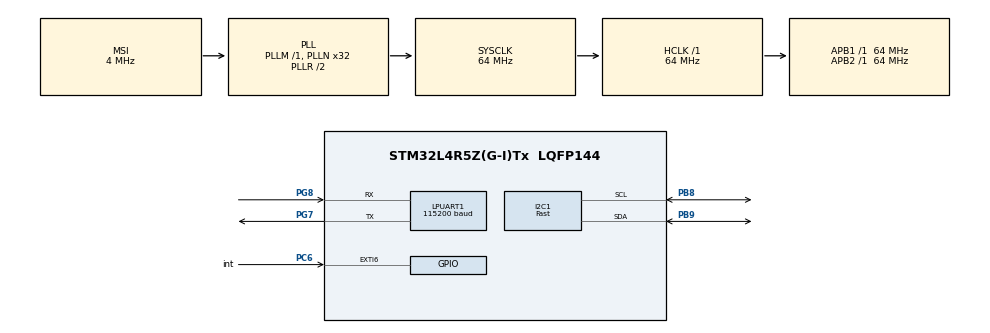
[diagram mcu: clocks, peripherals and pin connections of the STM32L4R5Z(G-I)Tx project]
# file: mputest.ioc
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Mcu.Family=STM32L4
RCC.MSI_VALUE=4000000
PG8.Mode=Asynchronous
RCC.CortexFreq_Value=64000000
PG7.Signal=LPUART1_TX
PA13\ (JTMS/SWDIO).Mode=Serial_Wire
I2C1.I2C_Speed_Mode=I2C_Fast
PG8.Signal=LPUART1_RX
PC6.Signal=GPXTI6
PC6.GPIO_Label=int
LPUART1.WordLength=UART_WORDLENGTH_8B
RCC.SYSCLKSource=RCC_SYSCLKSOURCE_PLLCLK
ProjectManager.StackSize=0x400
PA14\ (JTCK/SWCLK).Signal=SYS_JTCK-SWCLK
ProjectManager.TargetToolchain=STM32CubeIDE
RCC.HCLKFreq_Value=64000000
PB9.Mode=I2C
RCC.APB2TimFreq_Value=64000000
I2C1.Timing=0x00602173
PG7.Mode=Asynchronous
RCC.LSE_VALUE=32768
RCC.AHBFreq_Value=64000000
RCC.HSE_VALUE=8000000
board=custom
RCC.VCOOutputFreq_Value=128000000
RCC.APB2Freq_Value=64000000
PA14\ (JTCK/SWCLK).Mode=Serial_Wire
Mcu.Name=STM32L4R5Z(G-I)Tx
LPUART1.BaudRate=115200
RCC.SYSCLKFreq_VALUE=64000000
Mcu.Package=LQFP144
PB9.Signal=I2C1_SDA
NVIC.EXTI9_5_IRQn=true\:0\:0\:false\:false\:true\:true\:true
ProjectManager.HeapSize=0x200
RCC.HSI_VALUE=16000000
NVIC.PriorityGroup=NVIC_PRIORITYGROUP_4
PB8.Mode=I2C
RCC.PLLN=32
RCC.APB1TimFreq_Value=64000000
PB8.Signal=I2C1_SCL
RCC.APB1Freq_Value=64000000
RCC.HSI48_VALUE=48000000
PA13\ (JTMS/SWDIO).Signal=SYS_JTMS-SWDIO

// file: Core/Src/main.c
/* USER CODE BEGIN Header */
/**
 ******************************************************************************
 * @file           : main.c
 * @brief          : Main program body
 ******************************************************************************
 * @attention
 *
 * <h2><center>&copy; Copyright (c) 2021 STMicroelectronics.
 * All rights reserved.</center></h2>
 *
 * This software component is licensed by ST under BSD 3-Clause license,
 * the "License"; You may not use this file except in compliance with the
 * License. You may obtain a copy of the License at:
 *                        opensource.org/licenses/BSD-3-Clause
 *
 ******************************************************************************
 */
/* USER CODE END Header */
#include "main.h"

/* USER CODE BEGIN Includes */
#include "inv_mpu_dmp_motion_driver.h"
#include "inv_mpu.h"
#include <stdio.h>
#include <string.h>
/* USER CODE END Includes */

/* USER CODE BEGIN PTD */
#define MPU6050
/* USER CODE END PTD */

I2C_HandleTypeDef hi2c1;

UART_HandleTypeDef hlpuart1;

void SystemClock_Config(void);
static void MX_GPIO_Init(void);
static void MX_I2C1_Init(void);
static void MX_LPUART1_UART_Init(void);

/* USER CODE BEGIN 0 */
#define PRINT_ACCEL     (0x01)
#define PRINT_GYRO      (0x02)
#define PRINT_QUAT      (0x04)

#define ACCEL_ON        (0x01)
#define GYRO_ON         (0x02)

#define MOTION          (0)
#define NO_MOTION       (1)

/* Starting sampling rate. */
#define DEFAULT_MPU_HZ  (100)

#define FLASH_MEM_START ((void*)0x1800)

struct rx_s {
	unsigned char header[3];
	unsigned char cmd;
};
struct hal_s {
	unsigned char sensors;
	unsigned char dmp_on;
	unsigned char wait_for_tap;
	volatile unsigned char new_gyro;
	unsigned short report;
	unsigned short dmp_features;
	unsigned char motion_int_mode;
	struct rx_s rx;
};
struct hal_s hal = {0};

static signed char gyro_orientation[9] = {-1, 0, 0,
		0,-1, 0,
		0, 0, 1};
volatile unsigned char rx_new;

enum packet_type_e {
	PACKET_TYPE_ACCEL,
	PACKET_TYPE_GYRO,
	PACKET_TYPE_QUAT,
	PACKET_TYPE_TAP,
	PACKET_TYPE_ANDROID_ORIENT,
	PACKET_TYPE_PEDO,
	PACKET_TYPE_MISC
};

void send_packet(char packet_type, void *data)
{
	#define MAX_BUF_LENGTH  (18)
	char buf[MAX_BUF_LENGTH], length;

	memset(buf, 0, MAX_BUF_LENGTH);
	buf[0] = '$';
	buf[1] = packet_type;

	if (packet_type == PACKET_TYPE_ACCEL || packet_type == PACKET_TYPE_GYRO) {
		short *sdata = (short*)data;
		buf[2] = (char)(sdata[0] >> 8);
		buf[3] = (char)sdata[0];
		buf[4] = (char)(sdata[1] >> 8);
		buf[5] = (char)sdata[1];
		buf[6] = (char)(sdata[2] >> 8);
		buf[7] = (char)sdata[2];
		length = 8;
	} else if (packet_type == PACKET_TYPE_QUAT) {
		long *ldata = (long*)data;
		buf[2] = (char)(ldata[0] >> 24);
		buf[3] = (char)(ldata[0] >> 16);
		buf[4] = (char)(ldata[0] >> 8);
		buf[5] = (char)ldata[0];
		buf[6] = (char)(ldata[1] >> 24);
		buf[7] = (char)(ldata[1] >> 16);
		buf[8] = (char)(ldata[1] >> 8);
		buf[9] = (char)ldata[1];
		buf[10] = (char)(ldata[2] >> 24);
		buf[11] = (char)(ldata[2] >> 16);
		buf[12] = (char)(ldata[2] >> 8);
		buf[13] = (char)ldata[2];
		buf[14] = (char)(ldata[3] >> 24);
		buf[15] = (char)(ldata[3] >> 16);
		buf[16] = (char)(ldata[3] >> 8);
		buf[17] = (char)ldata[3];
		length = 18;
	} else if (packet_type == PACKET_TYPE_TAP) {
		buf[2] = ((char*)data)[0];
		buf[3] = ((char*)data)[1];
		length = 4;
	} else if (packet_type == PACKET_TYPE_ANDROID_ORIENT) {
		buf[2] = ((char*)data)[0];
		length = 3;
	} else if (packet_type == PACKET_TYPE_PEDO) {
		long *ldata = (long*)data;
		buf[2] = (char)(ldata[0] >> 24);
		buf[3] = (char)(ldata[0] >> 16);
		buf[4] = (char)(ldata[0] >> 8);
		buf[5] = (char)ldata[0];
		buf[6] = (char)(ldata[1] >> 24);
		buf[7] = (char)(ldata[1] >> 16);
		buf[8] = (char)(ldata[1] >> 8);
		buf[9] = (char)ldata[1];
		length = 10;
	} else if (packet_type == PACKET_TYPE_MISC) {
		buf[2] = ((char*)data)[0];
		buf[3] = ((char*)data)[1];
		buf[4] = ((char*)data)[2];
		buf[5] = ((char*)data)[3];
		length = 6;
	}
	HAL_UART_Transmit(&hlpuart1, (uint8_t *) buf, length, 100);
}
static inline unsigned short inv_row_2_scale(const signed char *row)
{
	unsigned short b;

	if (row[0] > 0)
		b = 0;
	else if (row[0] < 0)
		b = 4;
	else if (row[1] > 0)
		b = 1;
	else if (row[1] < 0)
		b = 5;
	else if (row[2] > 0)
		b = 2;
	else if (row[2] < 0)
		b = 6;
	else
		b = 7;      // error
	return b;
}

static inline unsigned short inv_orientation_matrix_to_scalar(
		const signed char *mtx)
{
	unsigned short scalar;

	/*
       XYZ  010_001_000 Identity Matrix
       XZY  001_010_000
       YXZ  010_000_001
       YZX  000_010_001
       ZXY  001_000_010
       ZYX  000_001_010
	 */

	scalar = inv_row_2_scale(mtx);
	scalar |= inv_row_2_scale(mtx + 3) << 3;
	scalar |= inv_row_2_scale(mtx + 6) << 6;

	return scalar;
}

/* Handle sensor on/off combinations. */
static void setup_gyro(void)
{
	unsigned char mask = 0;
	if (hal.sensors & ACCEL_ON)
		mask |= INV_XYZ_ACCEL;
	if (hal.sensors & GYRO_ON)
		mask |= INV_XYZ_GYRO;
	/* If you need a power transition, this function should be called with a
	 * mask of the sensors still enabled. The driver turns off any sensors
	 * excluded from this mask.
	 */
	mpu_set_sensors(mask);
	if (!hal.dmp_on)
		mpu_configure_fifo(mask);
}

static void tap_cb(unsigned char direction, unsigned char count)
{
	char data[2];
	data[0] = (char)direction;
	data[1] = (char)count;
	send_packet(PACKET_TYPE_TAP, data);
}

static void android_orient_cb(unsigned char orientation)
{
	send_packet(PACKET_TYPE_ANDROID_ORIENT, &orientation);
}

static inline void run_self_test(void)
{
	int result;
	char test_packet[4] = {0};
	long gyro[3], accel[3];
	unsigned char i = 0;

#if defined (MPU6500) || defined (MPU9250)
	result = mpu_run_6500_self_test(gyro, accel, 0);
#elif defined MPU6050 || defined MPU9150
	result = mpu_run_self_test(gyro, accel);
#endif
	if (result == 0x7) {
		/* Test passed. We can trust the gyro data here, so let's push it down
		 * to the DMP.
		 */
		for(i = 0; i<3; i++) {
			gyro[i] = (long)(gyro[i] * 32.8f); //convert to +-1000dps
			accel[i] *= 2048.f; //convert to +-16G
			accel[i] = accel[i] >> 16;
			gyro[i] = (long)(gyro[i] >> 16);
		}

		mpu_set_gyro_bias_reg(gyro);

#if defined (MPU6500) || defined (MPU9250)
		mpu_set_accel_bias_6500_reg(accel);
#elif defined (MPU6050) || defined (MPU9150)
		mpu_set_accel_bias_6050_reg(accel);
#endif

	}

	/* Report results. */
	test_packet[0] = 't';
	test_packet[1] = result;
	send_packet(PACKET_TYPE_MISC, test_packet);
}

/* Every time new gyro data is available, this function is called in an
 * ISR context. In this example, it sets a flag protecting the FIFO read
 * function.
 */
static void gyro_data_ready_cb(void)
{
	hal.new_gyro = 1;
}

/* USER CODE END 0 */

int main(void)
{
  /* USER CODE BEGIN 1 */
	unsigned char accel_fsr;
	unsigned short gyro_rate, gyro_fsr;
	unsigned long timestamp;
	struct int_param_s int_param;
  /* USER CODE END 1 */

  /* MCU Configuration--------------------------------------------------------*/

  /* Reset of all peripherals, Initializes the Flash interface and the Systick. */
  HAL_Init();

  /* Configure the system clock */
  SystemClock_Config();

  /* Initialize all configured peripherals */
  MX_GPIO_Init();
  MX_I2C1_Init();
  MX_LPUART1_UART_Init();
  /* USER CODE BEGIN 2 */
	int_param.cb = gyro_data_ready_cb;
	mpu_init(&int_param);
	setup_gyro();
	mpu_set_bypass(1);
	mpu_set_sensors(INV_XYZ_GYRO | INV_XYZ_ACCEL);

	/* Push both gyro and accel data into the FIFO. */
	mpu_configure_fifo(INV_XYZ_GYRO | INV_XYZ_ACCEL);
	mpu_set_sample_rate(DEFAULT_MPU_HZ);
	/* Read back configuration in case it was set improperly. */
	mpu_get_sample_rate(&gyro_rate);
	mpu_get_gyro_fsr(&gyro_fsr);
	mpu_get_accel_fsr(&accel_fsr);
	/* Initialize HAL state variables. */
	memset(&hal, 0, sizeof(hal));
	hal.sensors = ACCEL_ON | GYRO_ON;
	hal.report = PRINT_QUAT;

	dmp_load_motion_driver_firmware();
	dmp_set_orientation(inv_orientation_matrix_to_scalar(gyro_orientation));
	dmp_register_tap_cb(tap_cb);
	dmp_register_android_orient_cb(android_orient_cb);

	hal.dmp_features = DMP_FEATURE_6X_LP_QUAT | DMP_FEATURE_TAP |
			DMP_FEATURE_ANDROID_ORIENT | DMP_FEATURE_SEND_RAW_ACCEL | DMP_FEATURE_SEND_CAL_GYRO |
			DMP_FEATURE_GYRO_CAL;
	dmp_enable_feature(hal.dmp_features);
	dmp_set_fifo_rate(DEFAULT_MPU_HZ);
	mpu_set_dmp_state(1);
	hal.dmp_on = 1;
  /* USER CODE END 2 */

  /* Infinite loop */
	while (1)
	{

    /* USER CODE BEGIN 3 */
		unsigned long sensor_timestamp;

		//handle_input();
		get_ms(&timestamp);

		if (hal.motion_int_mode) {
			/* Enable motion interrupt. */
			mpu_lp_motion_interrupt(500, 1, 5);
			hal.new_gyro = 0;
			/* Wait for the MPU interrupt. */
			if(!hal.new_gyro)
				continue;
			/* Restore the previous sensor configuration. */
			mpu_lp_motion_interrupt(0, 0, 0);
			hal.motion_int_mode = 0;
		}

		if (hal.new_gyro && hal.dmp_on) {
			short gyro[3], accel[3], sensors;
			unsigned char more;
			long quat[4];
			/* This function gets new data from the FIFO when the DMP is in
			 * use. The FIFO can contain any combination of gyro, accel,
			 * quaternion, and gesture data. The sensors parameter tells the
			 * caller which data fields were actually populated with new data.
			 * For example, if sensors == (INV_XYZ_GYRO | INV_WXYZ_QUAT), then
			 * the FIFO isn't being filled with accel data.
			 * The driver parses the gesture data to determine if a gesture
			 * event has occurred; on an event, the application will be notified
			 * via a callback (assuming that a callback function was properly
			 * registered). The more parameter is non-zero if there are
			 * leftover packets in the FIFO.
			 */
			dmp_read_fifo(gyro, accel, quat, &sensor_timestamp, &sensors,&more);

			if (!more) hal.new_gyro = 0;
			/* Gyro and accel data are written to the FIFO by the DMP in chip
			 * frame and hardware units. This behavior is convenient because it
			 * keeps the gyro and accel outputs of dmp_read_fifo and
			 * mpu_read_fifo consistent.
			 */
			if (sensors & INV_XYZ_GYRO && hal.report & PRINT_GYRO){
				send_packet(PACKET_TYPE_GYRO, gyro);
			}
			if (sensors & INV_XYZ_ACCEL && hal.report & PRINT_ACCEL) send_packet(PACKET_TYPE_ACCEL, accel);
			/* Unlike gyro and accel, quaternions are written to the FIFO in
			 * the body frame, q30. The orientation is set by the scalar passed
			 * to dmp_set_orientation during initialization.
			 */
			if (sensors & INV_WXYZ_QUAT && hal.report & PRINT_QUAT) send_packet(PACKET_TYPE_QUAT, quat);
			//HAL_UART_Transmit(&hlpuart1, (uint8_t *) quat, sizeof(quat), 100);
			send_packet(PACKET_TYPE_ACCEL, accel);
			char *n = "\r\n";
			HAL_UART_Transmit(&hlpuart1, (uint8_t *) n, sizeof(n), 100);
			send_packet(PACKET_TYPE_GYRO, gyro);
			HAL_UART_Transmit(&hlpuart1, (uint8_t *) n, sizeof(n), 100);
			 send_packet(PACKET_TYPE_QUAT, quat);

		} else if (hal.new_gyro) {
			short gyro[3], accel[3];
			unsigned char sensors, more;
			/* This function gets new data from the FIFO. The FIFO can contain
			 * gyro, accel, both, or neither. The sensors parameter tells the
			 * caller which data fields were actually populated with new data.
			 * For example, if sensors == INV_XYZ_GYRO, then the FIFO isn't
			 * being filled with accel data. The more parameter is non-zero if
			 * there are leftover packets in the FIFO.
			 */
			mpu_read_fifo(gyro, accel, &sensor_timestamp, &sensors, &more);
			//HAL_UART_Transmit(&hlpuart1, (uint8_t *)accel, sizeof(accel), 100);
			if (!more)
				hal.new_gyro = 0;
			if (sensors & INV_XYZ_GYRO && hal.report & PRINT_GYRO)
				send_packet(PACKET_TYPE_GYRO, gyro);
			if (sensors & INV_XYZ_ACCEL && hal.report & PRINT_ACCEL)
				send_packet(PACKET_TYPE_ACCEL, accel);
		}

	}
  /* USER CODE END 3 */
}

void SystemClock_Config(void)
{
  RCC_OscInitTypeDef RCC_OscInitStruct = {0};
  RCC_ClkInitTypeDef RCC_ClkInitStruct = {0};
  RCC_PeriphCLKInitTypeDef PeriphClkInit = {0};

  /** Configure the main internal regulator output voltage
  */
  if (HAL_PWREx_ControlVoltageScaling(PWR_REGULATOR_VOLTAGE_SCALE1) != HAL_OK)
  {
    Error_Handler();
  }
  /** Initializes the RCC Oscillators according to the specified parameters
  * in the RCC_OscInitTypeDef structure.
  */
  RCC_OscInitStruct.OscillatorType = RCC_OSCILLATORTYPE_MSI;
  RCC_OscInitStruct.MSIState = RCC_MSI_ON;
  RCC_OscInitStruct.MSICalibrationValue = 0;
  RCC_OscInitStruct.MSIClockRange = RCC_MSIRANGE_6;
  RCC_OscInitStruct.PLL.PLLState = RCC_PLL_ON;
  RCC_OscInitStruct.PLL.PLLSource = RCC_PLLSOURCE_MSI;
  RCC_OscInitStruct.PLL.PLLM = 1;
  RCC_OscInitStruct.PLL.PLLN = 32;
  RCC_OscInitStruct.PLL.PLLP = RCC_PLLP_DIV2;
  RCC_OscInitStruct.PLL.PLLQ = RCC_PLLQ_DIV2;
  RCC_OscInitStruct.PLL.PLLR = RCC_PLLR_DIV2;
  if (HAL_RCC_OscConfig(&RCC_OscInitStruct) != HAL_OK)
  {
    Error_Handler();
  }
  /** Initializes the CPU, AHB and APB buses clocks
  */
  RCC_ClkInitStruct.ClockType = RCC_CLOCKTYPE_HCLK|RCC_CLOCKTYPE_SYSCLK
                              |RCC_CLOCKTYPE_PCLK1|RCC_CLOCKTYPE_PCLK2;
  RCC_ClkInitStruct.SYSCLKSource = RCC_SYSCLKSOURCE_PLLCLK;
  RCC_ClkInitStruct.AHBCLKDivider = RCC_SYSCLK_DIV1;
  RCC_ClkInitStruct.APB1CLKDivider = RCC_HCLK_DIV1;
  RCC_ClkInitStruct.APB2CLKDivider = RCC_HCLK_DIV1;

  if (HAL_RCC_ClockConfig(&RCC_ClkInitStruct, FLASH_LATENCY_3) != HAL_OK)
  {
    Error_Handler();
  }
  PeriphClkInit.PeriphClockSelection = RCC_PERIPHCLK_LPUART1|RCC_PERIPHCLK_I2C1;
  PeriphClkInit.Lpuart1ClockSelection = RCC_LPUART1CLKSOURCE_PCLK1;
  PeriphClkInit.I2c1ClockSelection = RCC_I2C1CLKSOURCE_PCLK1;
  if (HAL_RCCEx_PeriphCLKConfig(&PeriphClkInit) != HAL_OK)
  {
    Error_Handler();
  }
}

static void MX_I2C1_Init(void)
{

  hi2c1.Instance = I2C1;
  hi2c1.Init.Timing = 0x00602173;
  hi2c1.Init.OwnAddress1 = 0;
  hi2c1.Init.AddressingMode = I2C_ADDRESSINGMODE_7BIT;
  hi2c1.Init.DualAddressMode = I2C_DUALADDRESS_DISABLE;
  hi2c1.Init.OwnAddress2 = 0;
  hi2c1.Init.OwnAddress2Masks = I2C_OA2_NOMASK;
  hi2c1.Init.GeneralCallMode = I2C_GENERALCALL_DISABLE;
  hi2c1.Init.NoStretchMode = I2C_NOSTRETCH_DISABLE;
  if (HAL_I2C_Init(&hi2c1) != HAL_OK)
  {
    Error_Handler();
  }
  /** Configure Analogue filter
  */
  if (HAL_I2CEx_ConfigAnalogFilter(&hi2c1, I2C_ANALOGFILTER_ENABLE) != HAL_OK)
  {
    Error_Handler();
  }
  /** Configure Digital filter
  */
  if (HAL_I2CEx_ConfigDigitalFilter(&hi2c1, 0) != HAL_OK)
  {
    Error_Handler();
  }

}

static void MX_LPUART1_UART_Init(void)
{

  hlpuart1.Instance = LPUART1;
  hlpuart1.Init.BaudRate = 115200;
  hlpuart1.Init.WordLength = UART_WORDLENGTH_8B;
  hlpuart1.Init.StopBits = UART_STOPBITS_1;
  hlpuart1.Init.Parity = UART_PARITY_NONE;
  hlpuart1.Init.Mode = UART_MODE_TX_RX;
  hlpuart1.Init.HwFlowCtl = UART_HWCONTROL_NONE;
  hlpuart1.Init.OneBitSampling = UART_ONE_BIT_SAMPLE_DISABLE;
  hlpuart1.Init.ClockPrescaler = UART_PRESCALER_DIV1;
  hlpuart1.AdvancedInit.AdvFeatureInit = UART_ADVFEATURE_NO_INIT;
  hlpuart1.FifoMode = UART_FIFOMODE_DISABLE;
  if (HAL_UART_Init(&hlpuart1) != HAL_OK)
  {
    Error_Handler();
  }
  if (HAL_UARTEx_SetTxFifoThreshold(&hlpuart1, UART_TXFIFO_THRESHOLD_1_8) != HAL_OK)
  {
    Error_Handler();
  }
  if (HAL_UARTEx_SetRxFifoThreshold(&hlpuart1, UART_RXFIFO_THRESHOLD_1_8) != HAL_OK)
  {
    Error_Handler();
  }
  if (HAL_UARTEx_DisableFifoMode(&hlpuart1) != HAL_OK)
  {
    Error_Handler();
  }

}

static void MX_GPIO_Init(void)
{
  GPIO_InitTypeDef GPIO_InitStruct = {0};

  /* GPIO Ports Clock Enable */
  __HAL_RCC_GPIOG_CLK_ENABLE();
  HAL_PWREx_EnableVddIO2();
  __HAL_RCC_GPIOC_CLK_ENABLE();
  __HAL_RCC_GPIOA_CLK_ENABLE();
  __HAL_RCC_GPIOB_CLK_ENABLE();

  /*Configure GPIO pin : int_Pin */
  GPIO_InitStruct.Pin = int_Pin;
  GPIO_InitStruct.Mode = GPIO_MODE_IT_RISING;
  GPIO_InitStruct.Pull = GPIO_NOPULL;
  HAL_GPIO_Init(int_GPIO_Port, &GPIO_InitStruct);

  /* EXTI interrupt init*/
  HAL_NVIC_SetPriority(EXTI9_5_IRQn, 0, 0);
  HAL_NVIC_EnableIRQ(EXTI9_5_IRQn);

}

/* USER CODE BEGIN 4 */
void HAL_GPIO_EXTI_Callback(uint16_t GPIO_Pin){
	hal.new_gyro = 1;
	char msg[20] = "\r\nBlabla";
	HAL_UART_Transmit(&hlpuart1, (uint8_t *) msg, 8, 100);
}

/* USER CODE END 4 */

void Error_Handler(void)
{
	__disable_irq();
	while (1)
	{
	}
}

/************************ (C) COPYRIGHT STMicroelectronics *****END OF FILE****/
